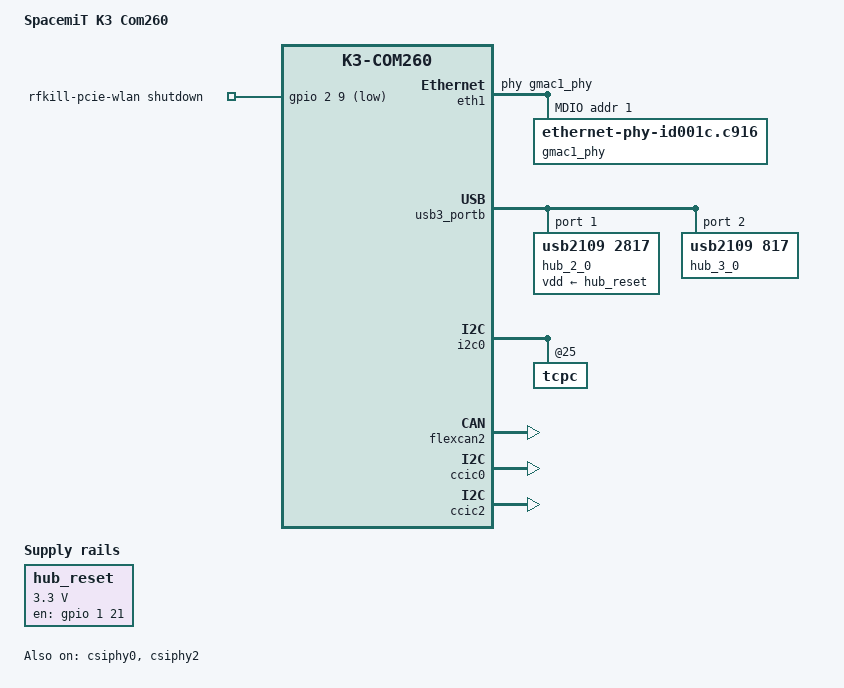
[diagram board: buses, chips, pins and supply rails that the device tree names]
// SPDX-License-Identifier: (GPL-2.0 OR MIT)
/* Copyright (c) 2025 Spacemit, Inc */

#include "k3_com260.dtsi"
#include "k3-camera.dtsi"

/ {
	model = "SpacemiT K3 Com260";
	compatible = "spacemit,k3-com260";

	rfkill-pcie-wlan {
		compatible = "rfkill-gpio";
		label = "rfkill-pcie-wlan";
		pinctrl-names = "default";
		pinctrl-0 = <&m2_wdis1_cfg>;
		radio-type = "wlan";
		shutdown-gpios = <&gpio 2 9 GPIO_ACTIVE_LOW>;
	};

	hub_reset: hub-reset {
		compatible = "regulator-fixed";
		regulator-name = "hub-reset";
		regulator-min-microvolt = <3300000>;
		regulator-max-microvolt = <3300000>;
		enable-active-high;
		regulator-boot-on;
		gpio = <&gpio 1 21 0>;
	};
};

&pinctrl {
	can2-1-cfg {
		can2-0-pins {
			power-source = <3300>;
		};
	};
};

/* Override dtsi default voltages */
&rpmi_regulator {
	edcdc2: edcdc2 {
		regulator-min-microvolt = <800000>;
		regulator-max-microvolt = <800000>;
		regulator-always-on;
		regulator-boot-on;
	};

	edcdc1: edcdc1 {
		regulator-min-microvolt = <534000>;
		regulator-max-microvolt = <1000000>;
		regulator-always-on;
		regulator-boot-on;
	};
};

&eth1 {
	phy-handle = <&gmac1_phy>;

	mdio {
		#address-cells = <1>;
		#size-cells = <0>;
		compatible = "snps,dwmac-mdio";

		gmac1_phy: ethernet-phy@1 {
			compatible = "ethernet-phy-id001c.c916",
				     "ethernet-phy-ieee802.3-c22";
			reg = <1>;
			realtek,aldps-enable;
			realtek,clkout-disable;

			leds {
				#address-cells = <1>;
				#size-cells = <0>;

				led@1 {
					reg = <1>;
					function = LED_FUNCTION_LAN;
					color = <LED_COLOR_ID_GREEN>;
					default-state = "keep";
				};

				led@2 {
					reg = <2>;
					function = LED_FUNCTION_LAN;
					color = <LED_COLOR_ID_YELLOW>;
					default-state = "keep";
				};
			};
		};
	};
};

&usb3_porta {
	reset-on-resume;
};

&usb3_portb {
	reset-on-resume;
	/* wakeup-source; */

	/* VL817 USB2.0 hub (4 ports) */
	hub_2_0: hub@1 {
		compatible = "usb2109,2817";
		reg = <1>;
		peer-hub = <&hub_3_0>;
		vdd-supply = <&hub_reset>;
	};

	/* VL817 USB3.0 hub (4 ports) */
	hub_3_0: hub@2 {
		compatible = "usb2109,817";
		reg = <2>;
		peer-hub = <&hub_2_0>;
	};
};

&i2c0 {
	tcpc@25 {
		suspend-vbus-off;
	};
};

&flexcan2 {
	clock-frequency = <80000000>;
	pinctrl-names = "default";
	pinctrl-0 = <&can2_1_cfg>;
	status = "okay";
};

&imx219_out {
	remote-endpoint = <&ccic0_in>;
};

&ov5647_out {
	remote-endpoint = <&ccic2_in>;
};

&ov5640_gmsl_out {
	remote-endpoint = <&ccic0_in_alt>;
};

&ccic0_in {
	remote-endpoint = <&imx219_out>;
};

&ccic2_in {
	remote-endpoint = <&ov5647_out>;
};

&ccic0_in_alt {
	remote-endpoint = <&ov5640_gmsl_out>;
};

&ccic0 {
	status = "okay";
};

&ccic1 {
	status = "disabled";
};

&ccic2 {
	status = "okay";
};

&ccic3 {
	status = "disabled";
};

&csiphy0 {
	status = "okay";
};

&csiphy1 {
	status = "disabled";
};

&csiphy2 {
	spacemit,bifmode-enable = <0>;
	status = "okay";
};
